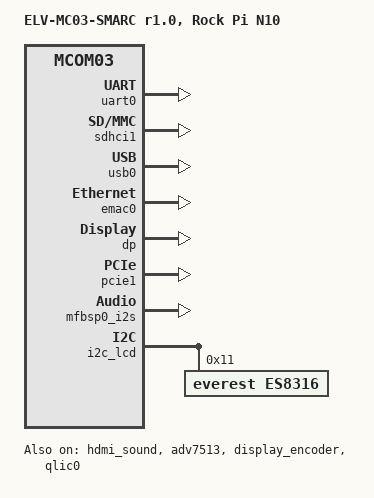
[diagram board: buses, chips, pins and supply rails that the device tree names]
// SPDX-License-Identifier: GPL-2.0+
/*
 * Copyright 2021 RnD Center "ELVEES", JSC
 */

/dts-v1/;

#include <dt-bindings/gpio/gpio.h>

#include "mcom03-elvmc03smarc-r1.0.dtsi"

/ {
	model = "ELV-MC03-SMARC r1.0, Rock Pi N10";
	compatible = "elvees,elvmc03smarc-r1.0-rockpi-n10",
		     "elvees,elvmc03smarc-rockpi-n10",
		     "radxa,rockpi-n10",
		     "elvees,elvmc03smarc-r1.0",
		     "elvees,elvmc03smarc",
		     "elvees,mcom03";

	chosen {
		stdout-path = "serial0:115200n8";
	};

	/* TRS (3.5mm jack) connected to ES8316 codec.
	   ES8316 connected to MCom-03 MFBSP0 as I2S master.
	 */
	aux_sound {
		compatible = "simple-audio-card";
		simple-audio-card,name = "mfbsp-i2s";
		simple-audio-card,format = "i2s";
		simple-audio-card,bitclock-master = <&dailink1_master>;
		simple-audio-card,frame-master = <&dailink1_master>;

		simple-audio-card,cpu {
			sound-dai = <&mfbsp0_i2s>;
		};

		dailink1_master: simple-audio-card,codec {
			sound-dai = <&es8316>;
		};
	};

};

/* Connected to Raspberry Pi header */
&uart0 {
	status = "okay";
};

/* Connected to MicroSD card */
&sdhci1 {
	status = "okay";

	/* Disable 1.8V support
	 * Disable SDR50, SDR104 and DDR50 support
	 */
	sdhci-caps-mask = <0x7 0x4000000>;
	sdhci-caps = <0x0 0x0>;

	/* SDIO_WP is not connected on Rock Pi N10 */
	disable-wp;
};

/* Connected to USB 3.0 Type-C */
&usb0 {
	status = "okay";
};

/* Connected to RJ-45 */
&emac0 {
	status = "okay";
};

/* Board have video output interface */
&dp {
	status = "okay";
};

&hdmi_sound {
	status = "okay";
};

/* Connected to HDMI plug */
&adv7513 {
	status = "okay";
};

&display_encoder {
	status = "okay";
	video-output = "rgb";
};

/* Connected to M.2 slot */
&pcie1 {
	status = "okay";
};

&audio_mclk {
	status = "okay";
};

/* SMARC S38-42 (I2S0*) pins connected to mfbsp0 */
&mfbsp0_i2s {
	status = "okay";
};

/* mfbsp0 interrupt controller */
&qlic0 {
	status = "okay";
};

/* SMARC pins B139-B140 (I2C_LCD*) connected to ES8316 */
&i2c_lcd {
	status = "okay";

	es8316: audio-codec@11 {
		status = "okay";
		#sound-dai-cells = <0>;
		compatible = "everest,es8316";
		reg = <0x11>;
		clocks = <&audio_mclk>;
		clock-names = "mclk";
	};
};
